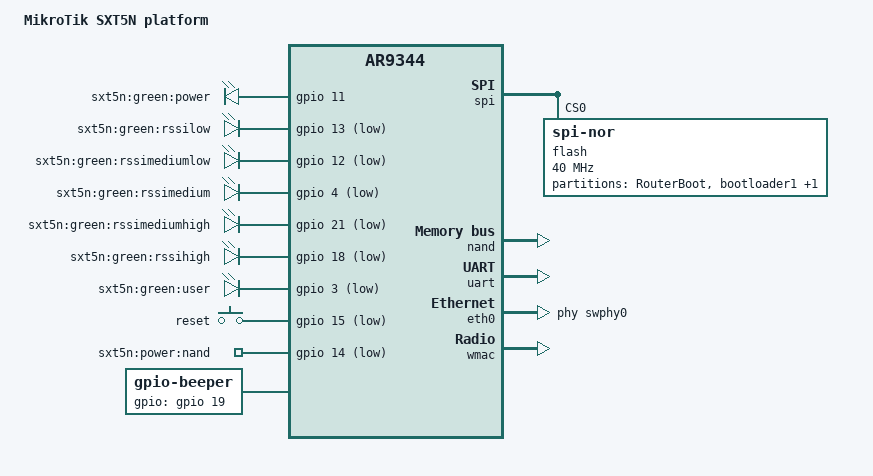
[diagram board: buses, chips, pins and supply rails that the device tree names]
// SPDX-License-Identifier: GPL-2.0-or-later OR MIT

#include <dt-bindings/gpio/gpio.h>
#include <dt-bindings/input/input.h>

#include "ar9344.dtsi"

/ {
	compatible = "mikrotik,sxt5n", "qca,ar9344";
	model = "MikroTik SXT5N platform";

	aliases {
		label-mac-device = &eth1;
		led-boot = &led_power;
		led-failsafe = &led_power;
		led-running = &led_power;
		led-upgrade = &led_power;
		serial0 = &uart;
	};

	leds: leds {
		compatible = "gpio-leds";

		led_power: power {
			label = "sxt5n:green:power";
			gpios = <&gpio 11 GPIO_ACTIVE_HIGH>;
		};

		rssilow {
			label = "sxt5n:green:rssilow";
			gpios = <&gpio 13 GPIO_ACTIVE_LOW>;
		};

		rssimediumlow {
			label = "sxt5n:green:rssimediumlow";
			gpios = <&gpio 12 GPIO_ACTIVE_LOW>;
		};

		rssimedium {
			label = "sxt5n:green:rssimedium";
			gpios = <&gpio 4 GPIO_ACTIVE_LOW>;
		};

		rssimediumhigh {
			label = "sxt5n:green:rssimediumhigh";
			gpios = <&gpio 21 GPIO_ACTIVE_LOW>;
		};

		led_rssihigh: rssihigh {
			label = "sxt5n:green:rssihigh";
			gpios = <&gpio 18 GPIO_ACTIVE_LOW>;
		};

		led_user: user {
			label = "sxt5n:green:user";
			gpios = <&gpio 3 GPIO_ACTIVE_LOW>;
		};
	};

	keys {
		compatible = "gpio-keys";

		reset {
			label = "reset";
			linux,code = <KEY_RESTART>;
			gpios = <&gpio 15 GPIO_ACTIVE_LOW>;
			debounce-interval = <60>;
		};
	};

	gpio-export {
		compatible = "gpio-export";

		gpio_nand_power {
			gpio-export,name = "sxt5n:power:nand";
			gpio-export,output = <0>;
			gpios = <&gpio 14 GPIO_ACTIVE_LOW>;
		};
	};

	beeper {
		compatible = "gpio-beeper";
		gpios = <&gpio 19 GPIO_ACTIVE_HIGH>;
	};
};

&spi {
	status = "okay";

	num-cs = <1>;

	flash@0 {
		compatible = "jedec,spi-nor";
		reg = <0>;
		spi-max-frequency = <40000000>;

		partitions {
			compatible = "fixed-partitions";
			#address-cells = <1>;
			#size-cells = <1>;

			partition@0 {
				label = "RouterBoot";
				reg = <0x0 0x20000>;
				read-only;
				compatible = "mikrotik,routerboot-partitions";
				#address-cells = <1>;
				#size-cells = <1>;

				partition@0 {
					label = "bootloader1";
					reg = <0x0 0x0>;
					read-only;
				};

				hard_config: hard_config {
					read-only;
				};

				bios {
					size = <0x1000>;
					read-only;
				};

				partition@10000 {
					label = "bootloader2";
					read-only;
				};

				soft_config {
				};
			};
		};
	};
};

&nand {
	status = "okay";

	nand-ecc-mode = "soft";
	qca,nand-swap-dma;
	qca,nand-scan-fixup;

	partitions {
		compatible = "fixed-partitions";
		#address-cells = <1>;
		#size-cells = <1>;

		partition@0 {
			label = "booter";
			reg = <0x0000000 0x0040000>;
			read-only;
		};

		partition@40000 {
			label = "kernel";
			reg = <0x0040000 0x03c0000>;
		};

		partition@400000 {
			label = "ubi";
			reg = <0x0400000 0x7c00000>;
		};
	};
};

&uart {
	status = "okay";
};


&eth0 {
	status = "okay";

	phy-handle = <&swphy0>;

	gmac-config {
		device = <&gmac>;
		switch-phy-swap = <1>;
	};
};

&eth1 {
	status = "okay";

	compatible = "syscon", "simple-mfd";
};

&wmac {
	status = "okay";

	qca,no-eeprom;
};
